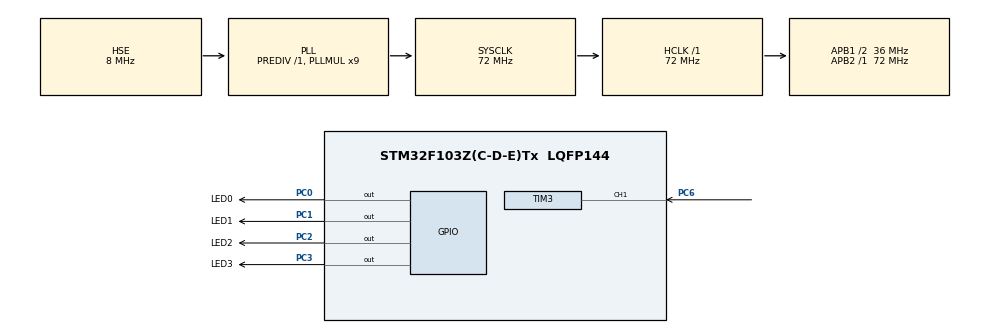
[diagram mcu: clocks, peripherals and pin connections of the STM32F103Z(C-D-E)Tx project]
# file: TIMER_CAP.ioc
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Mcu.Family=STM32F1
Mcu.Name=STM32F103Z(C-D-E)Tx
Mcu.Package=LQFP144
NVIC.PriorityGroup=NVIC_PRIORITYGROUP_4
NVIC.TIM2_IRQn=true\:0\:0\:false\:false\:true\:true\:true
NVIC.TIM3_IRQn=true\:0\:0\:false\:false\:true\:true\:true
OSC_IN.Mode=HSE-External-Oscillator
OSC_IN.Signal=RCC_OSC_IN
OSC_OUT.Mode=HSE-External-Oscillator
OSC_OUT.Signal=RCC_OSC_OUT
PA13.Mode=Serial_Wire
PA13.Signal=SYS_JTMS-SWDIO
PA14.Mode=Serial_Wire
PA14.Signal=SYS_JTCK-SWCLK
PC0.GPIO_Label=LED0
PC0.GPIO_ModeDefaultOutputPP=GPIO_MODE_OUTPUT_PP
PC0.GPIO_PuPd=GPIO_NOPULL
PC0.GPIO_Speed=GPIO_SPEED_FREQ_LOW
PC0.PinState=GPIO_PIN_SET
PC0.Signal=GPIO_Output
PC1.GPIO_Label=LED1
PC1.GPIO_ModeDefaultOutputPP=GPIO_MODE_OUTPUT_PP
PC1.GPIO_PuPd=GPIO_NOPULL
PC1.GPIO_Speed=GPIO_SPEED_FREQ_LOW
PC1.PinState=GPIO_PIN_SET
PC1.Signal=GPIO_Output
PC2.GPIO_Label=LED2
PC2.GPIO_ModeDefaultOutputPP=GPIO_MODE_OUTPUT_PP
PC2.GPIO_PuPd=GPIO_NOPULL
PC2.GPIO_Speed=GPIO_SPEED_FREQ_LOW
PC2.PinState=GPIO_PIN_SET
PC2.Signal=GPIO_Output
PC3.GPIO_Label=LED3
PC3.GPIO_ModeDefaultOutputPP=GPIO_MODE_OUTPUT_PP
PC3.GPIO_PuPd=GPIO_NOPULL
PC3.GPIO_Speed=GPIO_SPEED_FREQ_LOW
PC3.PinState=GPIO_PIN_SET
PC3.Signal=GPIO_Output
PC6.GPIO_PuPd=GPIO_PULLDOWN
PC6.Signal=S_TIM3_CH1
ProjectManager.HeapSize=0x200
ProjectManager.StackSize=0x400
ProjectManager.TargetToolchain=MDK-ARM V5.27
RCC.AHBFreq_Value=72000000
RCC.APB1CLKDivider=RCC_HCLK_DIV2
RCC.APB1Freq_Value=36000000
RCC.APB1TimFreq_Value=72000000
RCC.APB2Freq_Value=72000000
RCC.APB2TimFreq_Value=72000000
RCC.HCLKFreq_Value=72000000
RCC.PLLMUL=RCC_PLL_MUL9
RCC.PLLSourceVirtual=RCC_PLLSOURCE_HSE
RCC.SYSCLKFreq_VALUE=72000000
RCC.SYSCLKSource=RCC_SYSCLKSOURCE_PLLCLK
RCC.USBFreq_Value=72000000
SH.S_TIM3_CH1.0=TIM3_CH1,Input_Capture1_from_TI1
TIM2.AutoReloadPreload=TIM_AUTORELOAD_PRELOAD_ENABLE
TIM2.Period=10000-1
TIM2.Prescaler=72-1
TIM3.AutoReloadPreload=TIM_AUTORELOAD_PRELOAD_ENABLE
TIM3.Channel-Input_Capture1_from_TI1=TIM_CHANNEL_1
TIM3.ICFilter_CH1=0
TIM3.Period=0xffff
TIM3.Prescaler=72-1
VP_TIM2_VS_ClockSourceINT.Mode=Internal
VP_TIM3_VS_ClockSourceINT.Mode=Internal
board=custom

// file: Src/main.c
/* USER CODE BEGIN Header */
/**
  ******************************************************************************
  * @file           : main.c
  * @brief          : Main program body
  ******************************************************************************
  * @attention
  *
  * <h2><center>&copy; Copyright (c) 2020 STMicroelectronics.
  * All rights reserved.</center></h2>
  *
  * This software component is licensed by ST under BSD 3-Clause license,
  * the "License"; You may not use this file except in compliance with the
  * License. You may obtain a copy of the License at:
  *                        opensource.org/licenses/BSD-3-Clause
  *
  ******************************************************************************
  */
/* USER CODE END Header */

#include "main.h"
#include "tim.h"
#include "gpio.h"

/* USER CODE BEGIN PV */
uint16_t cap_over = 0;
uint64_t cap_timer = 0;
uint16_t cap_start = 0;
uint16_t cap_end = 0;
uint8_t cap_flag = 1;
/* USER CODE END PV */

void SystemClock_Config(void);

int main(void)
{

  /* MCU Configuration--------------------------------------------------------*/

  /* Reset of all peripherals, Initializes the Flash interface and the Systick. */
  HAL_Init();

  /* Configure the system clock */
  SystemClock_Config();

  /* Initialize all configured peripherals */
  MX_GPIO_Init();
  MX_TIM3_Init();
  MX_TIM2_Init();
  /* USER CODE BEGIN 2 */
	HAL_TIM_Base_Start_IT(&htim2);
	HAL_TIM_Base_Start_IT(&htim3);
	HAL_TIM_IC_Start_IT(&htim3, TIM_CHANNEL_1);

  /* USER CODE END 2 */

  /* Infinite loop */
  while (1)
  {

  }
}

void SystemClock_Config(void)
{
  RCC_OscInitTypeDef RCC_OscInitStruct = {0};
  RCC_ClkInitTypeDef RCC_ClkInitStruct = {0};

  /** Initializes the CPU, AHB and APB busses clocks
  */
  RCC_OscInitStruct.OscillatorType = RCC_OSCILLATORTYPE_HSE;
  RCC_OscInitStruct.HSEState = RCC_HSE_ON;
  RCC_OscInitStruct.HSEPredivValue = RCC_HSE_PREDIV_DIV1;
  RCC_OscInitStruct.HSIState = RCC_HSI_ON;
  RCC_OscInitStruct.PLL.PLLState = RCC_PLL_ON;
  RCC_OscInitStruct.PLL.PLLSource = RCC_PLLSOURCE_HSE;
  RCC_OscInitStruct.PLL.PLLMUL = RCC_PLL_MUL9;
  if (HAL_RCC_OscConfig(&RCC_OscInitStruct) != HAL_OK)
  {
    Error_Handler();
  }
  /** Initializes the CPU, AHB and APB busses clocks
  */
  RCC_ClkInitStruct.ClockType = RCC_CLOCKTYPE_HCLK|RCC_CLOCKTYPE_SYSCLK
                              |RCC_CLOCKTYPE_PCLK1|RCC_CLOCKTYPE_PCLK2;
  RCC_ClkInitStruct.SYSCLKSource = RCC_SYSCLKSOURCE_PLLCLK;
  RCC_ClkInitStruct.AHBCLKDivider = RCC_SYSCLK_DIV1;
  RCC_ClkInitStruct.APB1CLKDivider = RCC_HCLK_DIV2;
  RCC_ClkInitStruct.APB2CLKDivider = RCC_HCLK_DIV1;

  if (HAL_RCC_ClockConfig(&RCC_ClkInitStruct, FLASH_LATENCY_2) != HAL_OK)
  {
    Error_Handler();
  }
}

/* USER CODE BEGIN 4 */
void HAL_TIM_PeriodElapsedCallback(TIM_HandleTypeDef *htim)
{
	if(htim->Instance == htim2.Instance)
	{
		HAL_GPIO_TogglePin(LED0_GPIO_Port, LED0_Pin);

	}
	else if(htim->Instance == htim3.Instance)
	{
		cap_over++;
	}
}
void HAL_TIM_IC_CaptureCallback(TIM_HandleTypeDef *htim)
{
	if(htim->Instance == htim3.Instance)
	{
		if(cap_flag)
		{
			cap_start = HAL_TIM_ReadCapturedValue(&htim3, TIM_CHANNEL_1);

			__HAL_TIM_SET_CAPTUREPOLARITY(&htim3, TIM_CHANNEL_1, TIM_ICPOLARITY_FALLING);

			cap_flag = 0;

		}
		else
		{
			cap_end = HAL_TIM_ReadCapturedValue(&htim3, TIM_CHANNEL_1);

			if(!cap_over)
				cap_timer = cap_end - cap_start;
			else if(cap_over < 2)
			{
				cap_timer = (0xffff - cap_start) + cap_end + cap_over * 0xffff;
			}
			else
			{
				cap_timer = 0xffffffffffffffff;
			}

			cap_over = 0;
			cap_start = 0;
			cap_end = 0;
			cap_flag = 1;
			__HAL_TIM_SET_COUNTER(&htim3, 0);
			__HAL_TIM_SET_CAPTUREPOLARITY(&htim3, TIM_CHANNEL_1, TIM_ICPOLARITY_RISING);
		}
	}
}
/* USER CODE END 4 */

void Error_Handler(void)
{
}

/************************ (C) COPYRIGHT STMicroelectronics *****END OF FILE****/
